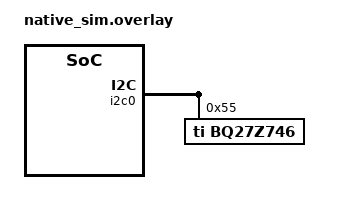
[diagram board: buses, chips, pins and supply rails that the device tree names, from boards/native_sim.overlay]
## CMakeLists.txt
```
# SPDX-License-Identifier: Apache-2.0

cmake_minimum_required(VERSION 3.20.0)
find_package(Zephyr REQUIRED HINTS $ENV{ZEPHYR_BASE})
project(device)

FILE(GLOB app_sources src/test_bq27z746.c)
target_sources(app PRIVATE ${app_sources})
```

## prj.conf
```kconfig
CONFIG_ZTEST=y
CONFIG_I2C=y
CONFIG_TEST_USERSPACE=y
CONFIG_LOG=y

CONFIG_FUEL_GAUGE=y
```

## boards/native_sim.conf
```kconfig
# SPDX-License-Identifier: Apache-2.0

CONFIG_EMUL=y
```

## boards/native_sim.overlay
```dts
/*
 * SPDX-License-Identifier: Apache-2.0
 */

&i2c0 {
	bq27z746: bq27z746@55 {
		compatible = "ti,bq27z746";
		reg = <0x55>;
		status = "okay";
	};
};
```

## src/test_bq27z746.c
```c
/*
 * Copyright (c) 2023, ithinx GmbH
 * Copyright (c) 2023, Tonies GmbH
 *
 * SPDX-License-Identifier: Apache-2.0
 */

#include <zephyr/device.h>
#include <zephyr/drivers/fuel_gauge.h>
#include <zephyr/drivers/i2c.h>
#include <zephyr/logging/log.h>
#include <zephyr/sys/byteorder.h>
#include <zephyr/sys/util.h>
#include <zephyr/ztest.h>
#include <zephyr/ztest_assert.h>

struct bq27z746_fixture {
	const struct device *dev;
	const struct fuel_gauge_driver_api *api;
};

static void *bq27z746_setup(void)
{
	static ZTEST_DMEM struct bq27z746_fixture fixture;

	fixture.dev = DEVICE_DT_GET_ANY(ti_bq27z746);
	k_object_access_all_grant(fixture.dev);

	zassert_true(device_is_ready(fixture.dev), "Fuel Gauge not found");

	return &fixture;
}

ZTEST_USER_F(bq27z746, test_get_some_props_failed_returns_bad_status)
{
	fuel_gauge_prop_t props[] = {
		/* First invalid property */
		FUEL_GAUGE_PROP_MAX,
		/* Second invalid property */
		FUEL_GAUGE_PROP_MAX,
		/* Valid property */
		FUEL_GAUGE_VOLTAGE,
	};
	union fuel_gauge_prop_val vals[ARRAY_SIZE(props)];

	int ret = fuel_gauge_get_props(fixture->dev, props, vals, ARRAY_SIZE(props));

	zassert_equal(ret, -ENOTSUP, "Getting bad property has a good status.");
}

ZTEST_USER_F(bq27z746, test_get_buffer_prop)
{
	int ret;

	{
		struct sbs_gauge_manufacturer_name mfg_name;

		ret = fuel_gauge_get_buffer_prop(fixture->dev, FUEL_GAUGE_MANUFACTURER_NAME,
						 &mfg_name, sizeof(mfg_name));
		zassert_ok(ret);
#if CONFIG_EMUL
		/* Only test for fixed values in emulation since the real device might be */
		/* reprogrammed and respond with different values */
		zassert_equal(sizeof("Texas Instruments") - 1, mfg_name.manufacturer_name_length);
		zassert_mem_equal(mfg_name.manufacturer_name, "Texas Instruments",
				  mfg_name.manufacturer_name_length,
				  "mfg_name.manufacturer_name='%s'", mfg_name.manufacturer_name);
#endif
	}
	{
		struct sbs_gauge_device_name dev_name;

		ret = fuel_gauge_get_buffer_prop(fixture->dev, FUEL_GAUGE_DEVICE_NAME, &dev_name,
						 sizeof(dev_name));
		zassert_ok(ret);
#if CONFIG_EMUL
		/* Only test for fixed values in emulation since the real device might be */
		/* reprogrammed and respond with different values */
		zassert_equal(sizeof("BQ27Z746") - 1, dev_name.device_name_length);
		zassert_mem_equal(dev_name.device_name, "BQ27Z746", dev_name.device_name_length);
#endif
	}
	{
		struct sbs_gauge_device_chemistry device_chemistry;

		ret = fuel_gauge_get_buffer_prop(fixture->dev, FUEL_GAUGE_DEVICE_CHEMISTRY,
						 &device_chemistry, sizeof(device_chemistry));
		zassert_ok(ret);
#if CONFIG_EMUL
		/* Only test for fixed values in emulation since the real device might be */
		/* reprogrammed and respond with different values */
		zassert_equal(sizeof("LION") - 1, device_chemistry.device_chemistry_length);
		zassert_mem_equal(device_chemistry.device_chemistry, "LION",
				  device_chemistry.device_chemistry_length);
#endif
	}
}

ZTEST_USER_F(bq27z746, test_get_props__returns_ok)
{
	/* Validate what props are supported by the driver */

	fuel_gauge_prop_t props[] = {
			FUEL_GAUGE_AVG_CURRENT,
			FUEL_GAUGE_CYCLE_COUNT,
			FUEL_GAUGE_CURRENT,
			FUEL_GAUGE_FULL_CHARGE_CAPACITY,
			FUEL_GAUGE_REMAINING_CAPACITY,
			FUEL_GAUGE_RUNTIME_TO_EMPTY,
			FUEL_GAUGE_RUNTIME_TO_FULL,
			FUEL_GAUGE_SBS_MFR_ACCESS,
			FUEL_GAUGE_RELATIVE_STATE_OF_CHARGE,
			FUEL_GAUGE_TEMPERATURE,
			FUEL_GAUGE_VOLTAGE,
			FUEL_GAUGE_SBS_ATRATE,
			FUEL_GAUGE_SBS_ATRATE_TIME_TO_EMPTY,
			FUEL_GAUGE_CHARGE_VOLTAGE,
			FUEL_GAUGE_CHARGE_CURRENT,
			FUEL_GAUGE_STATUS,
			FUEL_GAUGE_DESIGN_CAPACITY,
	};
	union fuel_gauge_prop_val vals[ARRAY_SIZE(props)];

	zassert_ok(fuel_gauge_get_props(fixture->dev, props, vals, ARRAY_SIZE(props)));

	/* Check properties for valid ranges */
#if CONFIG_EMUL
	/* When emulating, check for the fixed values coming from the emulator */
	zassert_equal(vals[0].avg_current, -2000);
	zassert_equal(vals[1].cycle_count, 100);
	zassert_equal(vals[2].current, -2000);
	zassert_equal(vals[3].full_charge_capacity, 1000);
	zassert_equal(vals[4].remaining_capacity, 1000);
	zassert_equal(vals[5].runtime_to_empty, 1);
	zassert_equal(vals[6].runtime_to_full, 1);
	zassert_equal(vals[7].sbs_mfr_access_word, 1);
	zassert_equal(vals[8].relative_state_of_charge, 1);
	zassert_equal(vals[9].temperature, 1);
	zassert_equal(vals[10].voltage, 1000);
	zassert_equal(vals[11].sbs_at_rate, -2);
	zassert_equal(vals[12].sbs_at_rate_time_to_empty, 1);
	zassert_equal(vals[13].chg_voltage, 1000);
	zassert_equal(vals[14].chg_current, 1000);
	zassert_equal(vals[15].fg_status, 1);
	zassert_equal(vals[16].design_cap, 1);
#else
	/* When having a real device, check for the valid ranges */
	zassert_between_inclusive(props[0].avg_current, -32768 * 1000, 32767 * 1000);
	zassert_between_inclusive(props[1].cycle_count, 0, 6553500);
	zassert_between_inclusive(props[2].current, -32768 * 1000, 32767 * 1000);
	zassert_between_inclusive(props[3].full_charge_capacity, 0, 32767 * 1000);
	zassert_between_inclusive(props[4].remaining_capacity, 0, 32767 * 1000);
	zassert_between_inclusive(props[5].runtime_to_empty, 0, 65535);
	zassert_between_inclusive(props[6].runtime_to_full, 0, 65535);
	/* Not testing props[7]. This is the manufacturer access and has only status bits */
	zassert_between_inclusive(props[8].relative_state_of_charge, 0, 100);
	zassert_between_inclusive(props[9].temperature, 0, 32767);
	zassert_between_inclusive(props[10].voltage, 0, 32767 * 1000);
	zassert_between_inclusive(props[11].sbs_at_rate, -32768, 32767);
	zassert_between_inclusive(props[12].sbs_at_rate_time_to_empty, 0, 65535);
	zassert_between_inclusive(props[13].chg_voltage, 0, 32767);
	zassert_between_inclusive(props[14].chg_current, 0, 32767);
	/* Not testing props[15]. This property is the status and only has only status bits */
	zassert_between_inclusive(props[16].design_cap, 0, 32767);
#endif
}

ZTEST_SUITE(bq27z746, NULL, bq27z746_setup, NULL, NULL, NULL);
```
